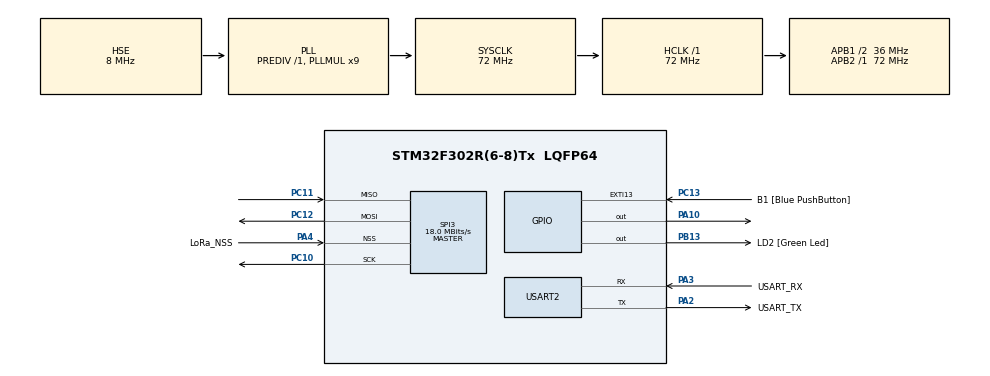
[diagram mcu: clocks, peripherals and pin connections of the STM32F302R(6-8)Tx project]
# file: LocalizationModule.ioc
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Mcu.Family=STM32F3
Mcu.Name=STM32F302R(6-8)Tx
Mcu.Package=LQFP64
NVIC.PriorityGroup=NVIC_PRIORITYGROUP_0
PA10.PinState=GPIO_PIN_SET
PA10.Signal=GPIO_Output
PA13.GPIO_Label=TMS
PA13.Mode=Trace_Asynchronous_SW
PA13.Signal=SYS_JTMS-SWDIO
PA14.GPIO_Label=TCK
PA14.Mode=Trace_Asynchronous_SW
PA14.Signal=SYS_JTCK-SWCLK
PA2.GPIO_Label=USART_TX
PA2.GPIO_Mode=GPIO_MODE_AF_PP
PA2.GPIO_PuPd=GPIO_NOPULL
PA2.GPIO_Speed=GPIO_SPEED_FREQ_LOW
PA2.Mode=Asynchronous
PA2.Signal=USART2_TX
PA3.GPIO_Label=USART_RX
PA3.GPIO_Mode=GPIO_MODE_AF_PP
PA3.GPIO_PuPd=GPIO_NOPULL
PA3.GPIO_Speed=GPIO_SPEED_FREQ_LOW
PA3.Mode=Asynchronous
PA3.Signal=USART2_RX
PA4.GPIO_Label=LoRa_NSS
PA4.Mode=NSS_Signal_Hard_Input
PA4.Signal=SPI3_NSS
PB13.GPIO_Label=LD2 [Green Led]
PB13.Signal=GPIO_Output
PB3.GPIO_Label=SWO
PB3.Mode=Trace_Asynchronous_SW
PB3.Signal=SYS_JTDO-TRACESWO
PC10.Mode=Full_Duplex_Master
PC10.Signal=SPI3_SCK
PC11.Mode=Full_Duplex_Master
PC11.Signal=SPI3_MISO
PC12.Mode=Full_Duplex_Master
PC12.Signal=SPI3_MOSI
PC13.GPIO_Label=B1 [Blue PushButton]
PC13.GPIO_ModeDefaultEXTI=GPIO_MODE_IT_FALLING
PC13.Signal=GPXTI13
PC14\ -\ OSC32_IN.Signal=RCC_OSC32_IN
PC15\ -\ OSC32_OUT.Signal=RCC_OSC32_OUT
PF0-OSC_IN.Mode=HSE-External-Oscillator
PF0-OSC_IN.Signal=RCC_OSC_IN
PF1-OSC_OUT.Mode=HSE-External-Oscillator
PF1-OSC_OUT.Signal=RCC_OSC_OUT
ProjectManager.HeapSize=0x200
ProjectManager.StackSize=0x400
ProjectManager.TargetToolchain=STM32CubeIDE
RCC.AHBFreq_Value=72000000
RCC.APB1CLKDivider=RCC_HCLK_DIV2
RCC.APB1Freq_Value=36000000
RCC.APB1TimFreq_Value=72000000
RCC.APB2Freq_Value=72000000
RCC.APB2TimFreq_Value=72000000
RCC.CortexFreq_Value=72000000
RCC.HCLKFreq_Value=72000000
RCC.HSE_VALUE=8000000
RCC.HSI_VALUE=8000000
RCC.LSE_VALUE=32768
RCC.PLLM=8
RCC.PLLMUL=RCC_PLL_MUL9
RCC.PLLN=336
RCC.PLLP=RCC_PLLP_DIV4
RCC.PLLQ=7
RCC.PLLSourceVirtual=RCC_PLLSOURCE_HSE
RCC.SYSCLKFreq_VALUE=72000000
RCC.SYSCLKSourceVirtual=RCC_SYSCLKSOURCE_PLLCLK
RCC.USBFreq_Value=72000000
SPI3.CalculateBaudRate=18.0 MBits/s
SPI3.Direction=SPI_DIRECTION_2LINES
SPI3.Mode=SPI_MODE_MASTER
SPI3.VirtualNSS=VM_NSSHARD
SPI3.VirtualType=VM_MASTER
USART2.VirtualMode-Asynchronous=VM_ASYNC
board=NUCLEO-F302R8

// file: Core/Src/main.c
/* USER CODE BEGIN Header */
/**
  ******************************************************************************
  * @file           : main.c
  * @brief          : Main program body
  ******************************************************************************
  * @attention
  *
  * Copyright (c) 2023 STMicroelectronics.
  * All rights reserved.
  *
  * This software is licensed under terms that can be found in the LICENSE file
  * in the root directory of this software component.
  * If no LICENSE file comes with this software, it is provided AS-IS.
  *
  ******************************************************************************
  */
/* USER CODE END Header */
#include "main.h"

/* USER CODE BEGIN Includes */
#include "lora_sx1276.h"
#include <stdio.h>
/* USER CODE END Includes */

SPI_HandleTypeDef hspi3;

UART_HandleTypeDef huart2;

void SystemClock_Config(void);
static void MX_GPIO_Init(void);
static void MX_USART2_UART_Init(void);
static void MX_SPI3_Init(void);

/* USER CODE BEGIN 0 */

int _write(int file, char *ptr, int len)
{
	for (int i = 0; i < len; i++)
	{
	  ITM_SendChar(*ptr++);
	}
	return len;
}

/* USER CODE END 0 */

int main(void)
{

  /* MCU Configuration--------------------------------------------------------*/

  /* Reset of all peripherals, Initializes the Flash interface and the Systick. */
  HAL_Init();

  /* Configure the system clock */
  SystemClock_Config();

  /* Initialize all configured peripherals */
  MX_GPIO_Init();
  MX_USART2_UART_Init();
  MX_SPI3_Init();

  /* Infinite loop */
  /* USER CODE BEGIN WHILE */
  int counter = 0;
  while (1)
  {
	  HAL_GPIO_WritePin(LD2_GPIO_Port, LD2_Pin, GPIO_PIN_SET);
	  HAL_Delay(1000);
	  HAL_GPIO_WritePin(LD2_GPIO_Port, LD2_Pin, GPIO_PIN_RESET);
	  HAL_Delay(1000);
    /* USER CODE END WHILE */

  }
}

void SystemClock_Config(void)
{
  RCC_OscInitTypeDef RCC_OscInitStruct = {0};
  RCC_ClkInitTypeDef RCC_ClkInitStruct = {0};

  /** Initializes the RCC Oscillators according to the specified parameters
  * in the RCC_OscInitTypeDef structure.
  */
  RCC_OscInitStruct.OscillatorType = RCC_OSCILLATORTYPE_HSE;
  RCC_OscInitStruct.HSEState = RCC_HSE_ON;
  RCC_OscInitStruct.HSEPredivValue = RCC_HSE_PREDIV_DIV1;
  RCC_OscInitStruct.HSIState = RCC_HSI_ON;
  RCC_OscInitStruct.PLL.PLLState = RCC_PLL_ON;
  RCC_OscInitStruct.PLL.PLLSource = RCC_PLLSOURCE_HSE;
  RCC_OscInitStruct.PLL.PLLMUL = RCC_PLL_MUL9;
  if (HAL_RCC_OscConfig(&RCC_OscInitStruct) != HAL_OK)
  {
    Error_Handler();
  }

  /** Initializes the CPU, AHB and APB buses clocks
  */
  RCC_ClkInitStruct.ClockType = RCC_CLOCKTYPE_HCLK|RCC_CLOCKTYPE_SYSCLK
                              |RCC_CLOCKTYPE_PCLK1|RCC_CLOCKTYPE_PCLK2;
  RCC_ClkInitStruct.SYSCLKSource = RCC_SYSCLKSOURCE_PLLCLK;
  RCC_ClkInitStruct.AHBCLKDivider = RCC_SYSCLK_DIV1;
  RCC_ClkInitStruct.APB1CLKDivider = RCC_HCLK_DIV2;
  RCC_ClkInitStruct.APB2CLKDivider = RCC_HCLK_DIV1;

  if (HAL_RCC_ClockConfig(&RCC_ClkInitStruct, FLASH_LATENCY_2) != HAL_OK)
  {
    Error_Handler();
  }
}

static void MX_SPI3_Init(void)
{

  /* SPI3 parameter configuration*/
  hspi3.Instance = SPI3;
  hspi3.Init.Mode = SPI_MODE_MASTER;
  hspi3.Init.Direction = SPI_DIRECTION_2LINES;
  hspi3.Init.DataSize = SPI_DATASIZE_4BIT;
  hspi3.Init.CLKPolarity = SPI_POLARITY_LOW;
  hspi3.Init.CLKPhase = SPI_PHASE_1EDGE;
  hspi3.Init.NSS = SPI_NSS_HARD_INPUT;
  hspi3.Init.BaudRatePrescaler = SPI_BAUDRATEPRESCALER_2;
  hspi3.Init.FirstBit = SPI_FIRSTBIT_MSB;
  hspi3.Init.TIMode = SPI_TIMODE_DISABLE;
  hspi3.Init.CRCCalculation = SPI_CRCCALCULATION_DISABLE;
  hspi3.Init.CRCPolynomial = 7;
  hspi3.Init.CRCLength = SPI_CRC_LENGTH_DATASIZE;
  hspi3.Init.NSSPMode = SPI_NSS_PULSE_ENABLE;
  if (HAL_SPI_Init(&hspi3) != HAL_OK)
  {
    Error_Handler();
  }
  /* USER CODE BEGIN SPI3_Init 2 */
  lora_sx1276 lora;

  uint8_t res = lora_init(&lora, &hspi3, LoRa_NSS_GPIO_Port, LoRa_NSS_Pin, LORA_BASE_FREQUENCY_US);
  if (res == LORA_OK) {
	  printf("LoRa set up\n");
  }
  res = lora_send_packet(&lora, (uint8_t *)"test", 4);
   if (res != LORA_OK) {
	   printf("Sending packet failed\n");
   }

  /* USER CODE END SPI3_Init 2 */

}

static void MX_USART2_UART_Init(void)
{

  huart2.Instance = USART2;
  huart2.Init.BaudRate = 38400;
  huart2.Init.WordLength = UART_WORDLENGTH_8B;
  huart2.Init.StopBits = UART_STOPBITS_1;
  huart2.Init.Parity = UART_PARITY_NONE;
  huart2.Init.Mode = UART_MODE_TX_RX;
  huart2.Init.HwFlowCtl = UART_HWCONTROL_NONE;
  huart2.Init.OverSampling = UART_OVERSAMPLING_16;
  huart2.Init.OneBitSampling = UART_ONE_BIT_SAMPLE_DISABLE;
  huart2.AdvancedInit.AdvFeatureInit = UART_ADVFEATURE_NO_INIT;
  if (HAL_UART_Init(&huart2) != HAL_OK)
  {
    Error_Handler();
  }

}

static void MX_GPIO_Init(void)
{
  GPIO_InitTypeDef GPIO_InitStruct = {0};

  /* GPIO Ports Clock Enable */
  __HAL_RCC_GPIOC_CLK_ENABLE();
  __HAL_RCC_GPIOF_CLK_ENABLE();
  __HAL_RCC_GPIOA_CLK_ENABLE();
  __HAL_RCC_GPIOB_CLK_ENABLE();

  /*Configure GPIO pin Output Level */
  HAL_GPIO_WritePin(LD2_GPIO_Port, LD2_Pin, GPIO_PIN_RESET);

  /*Configure GPIO pin Output Level */
  HAL_GPIO_WritePin(GPIOA, GPIO_PIN_10, GPIO_PIN_SET);

  /*Configure GPIO pin : B1_Pin */
  GPIO_InitStruct.Pin = B1_Pin;
  GPIO_InitStruct.Mode = GPIO_MODE_IT_FALLING;
  GPIO_InitStruct.Pull = GPIO_NOPULL;
  HAL_GPIO_Init(B1_GPIO_Port, &GPIO_InitStruct);

  /*Configure GPIO pin : LD2_Pin */
  GPIO_InitStruct.Pin = LD2_Pin;
  GPIO_InitStruct.Mode = GPIO_MODE_OUTPUT_PP;
  GPIO_InitStruct.Pull = GPIO_NOPULL;
  GPIO_InitStruct.Speed = GPIO_SPEED_FREQ_LOW;
  HAL_GPIO_Init(LD2_GPIO_Port, &GPIO_InitStruct);

  /*Configure GPIO pin : PA10 */
  GPIO_InitStruct.Pin = GPIO_PIN_10;
  GPIO_InitStruct.Mode = GPIO_MODE_OUTPUT_PP;
  GPIO_InitStruct.Pull = GPIO_NOPULL;
  GPIO_InitStruct.Speed = GPIO_SPEED_FREQ_LOW;
  HAL_GPIO_Init(GPIOA, &GPIO_InitStruct);

}

void Error_Handler(void)
{
  __disable_irq();
  while (1)
  {
  }
}
